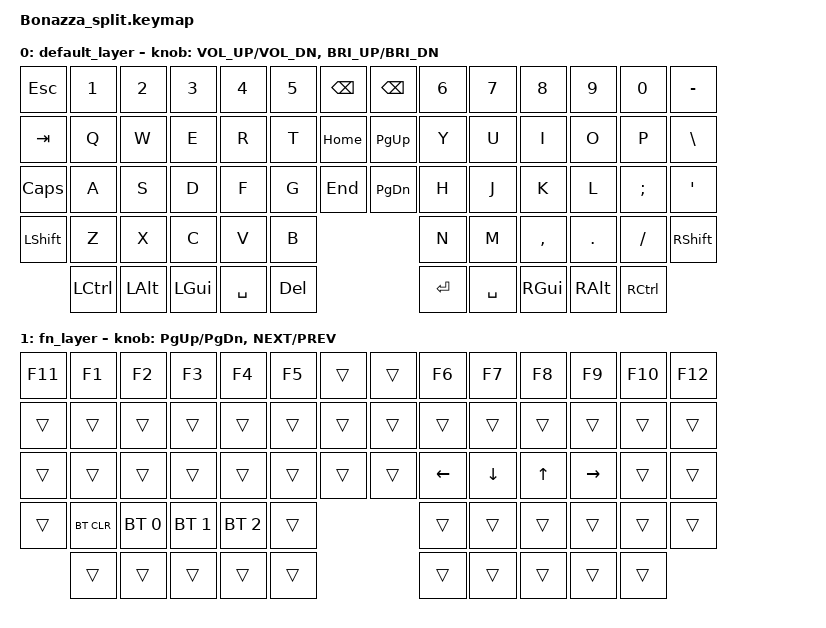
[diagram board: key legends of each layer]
#include <behaviors.dtsi>
#include <dt-bindings/zmk/keys.h>
#include <dt-bindings/zmk/bt.h>
#include <dt-bindings/zmk/outputs.h>

/ {
    keymap {
        compatible = "zmk,keymap";

        default_layer {
            // Layout BASE (QWERTY)
            // Corrisponde all'immagine con tasti neri
            bindings = <
    &kp ESC   &kp N1  &kp N2  &kp N3  &kp N4  &kp N5  &kp BSPC      &kp BSPC &kp N6  &kp N7  &kp N8  &kp N9  &kp N0  &kp MINUS
    &kp TAB   &kp Q   &kp W   &kp E   &kp R   &kp T   &kp HOME      &kp PG_UP &kp Y   &kp U   &kp I   &kp O   &kp P   &kp BSLH
    &kp CLCK  &kp A   &kp S   &kp D   &kp F   &kp G   &kp END       &kp PG_DN &kp H   &kp J   &kp K   &kp L   &kp SEMI &kp SQT
    &kp LSHFT &kp Z   &kp X   &kp C   &kp V   &kp B                       &kp N   &kp M   &kp COMMA &kp DOT &kp FSLH &kp RSHFT
              &kp LCTRL &kp LALT &kp LGUI &kp SPACE &kp DEL           &kp RET &kp SPACE &kp RGUI &kp RALT &kp RCTRL
            >;
            
            // Configurazione Encoder (Rotazione)
            sensor-bindings = <&inc_dec_kp C_VOL_UP C_VOL_DN &inc_dec_kp C_BRI_UP C_BRI_DN>;
        };

        fn_layer {
            // Layout Fn (Tasti Blu)
            // Attivato tenendo premuto un tasto "MO 1" (che devi mappare, es. al posto di RCTRL o un tasto thumb)
            bindings = <
    &kp F11   &kp F1  &kp F2  &kp F3  &kp F4  &kp F5  &trans        &trans &kp F6  &kp F7  &kp F8  &kp F9  &kp F10 &kp F12
    &trans    &trans  &trans  &trans  &trans  &trans  &trans        &trans &trans  &trans  &trans  &trans  &trans  &trans
    &trans    &trans  &trans  &trans  &trans  &trans  &trans        &trans &kp LEFT &kp DOWN &kp UP  &kp RIGHT &trans &trans
    &trans    &bt BT_CLR &bt BT_SEL 0 &bt BT_SEL 1 &bt BT_SEL 2 &trans      &trans  &trans  &trans  &trans &trans &trans
              &trans    &trans   &trans   &trans    &trans            &trans  &trans    &trans   &trans   &trans
            >;
            
            sensor-bindings = <&inc_dec_kp PG_UP PG_DN &inc_dec_kp C_NEXT C_PREV>;
        };
    };
};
